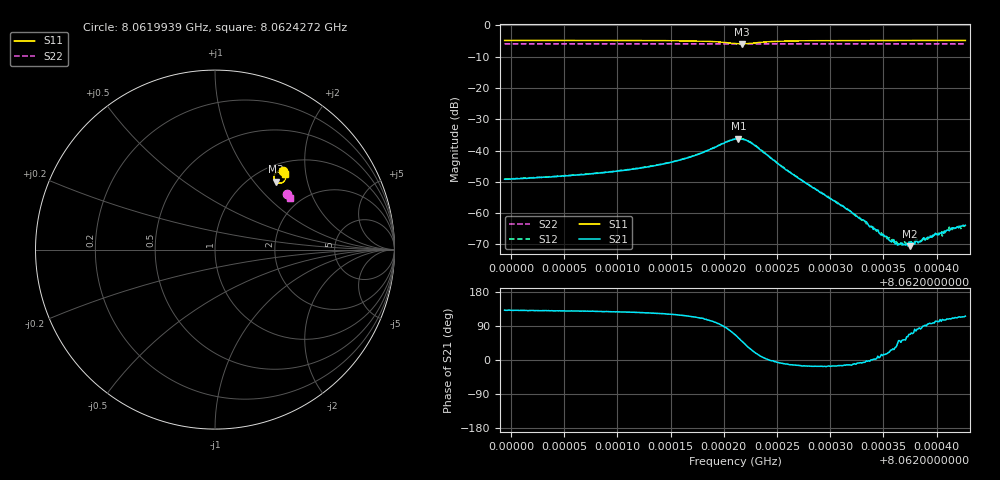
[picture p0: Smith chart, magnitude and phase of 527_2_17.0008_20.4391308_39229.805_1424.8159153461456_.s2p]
#  HZ  S  RI  R  50.00
! Rohde & Schwarz Vector Network Analyzer
! Rohde-Schwarz,ZNB20-2Port,1311601062101988,3.16
! Created: UTC 3/20/2024, 11:15:45 PM
! freq[Hz]  re:S11  im:S11  re:S21  im:S21  re:S12  im:S12  re:S22  im:S22
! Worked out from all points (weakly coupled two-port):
!   401 points, 8.0619939 GHz to 8.0624272 GHz, reference 50 ohm
!   highest |S21| = -36.25 dB at 8.0622138 GHz (marker M1); lowest = -70.6 dB at 8.0623752 GHz (marker M2)
!   lowest |S11| = -5.9 dB at 8.062217 GHz (marker M3), VSWR 3.07, Z = 64 + j65.3 ohm
!   |S11| at or under -10 dB: nowhere
!   |S22| runs from -5.9 to -5.9 dB; largest |S21 - S12| = 0.001
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8.06199391e9  0.3766 0.4361  -0.00231 0.0026  -0.00217 0.00272  0.4026 0.3117
8.06206648e9  0.3824 0.4302  -0.0026 0.00321  -0.00242 0.00339  0.4053 0.3079
8.0621098e9  0.3868 0.425  -0.00292 0.00397  -0.0027 0.00419  0.4069 0.3056
8.06213905e9  0.3902 0.4192  -0.0032 0.00496  -0.00297 0.00521  0.4079 0.3038
8.06217371e9  0.3939 0.4051  -0.00329 0.00779  -0.00285 0.008  0.4091 0.3016
8.06221053e9  0.3578 0.3704  0.00602 0.0141  0.00679 0.0138  0.4082 0.2989
8.06221378e9  0.348 0.373  0.00813 0.0131  0.00887 0.0128  0.408 0.2989
8.06221703e9  0.3395 0.3785  0.00989 0.0116  0.0107 0.0112  0.4077 0.2992
8.06222786e9  0.3286 0.4079  0.0116 0.00485  0.012 0.0043  0.4081 0.3001
8.06225711e9  0.3562 0.4356  0.00507 -0.000881  0.00509 -0.00119  0.4106 0.2995
8.0622831e9  0.3693 0.4352  0.00248 -0.000749  0.00246 -0.000903  0.4121 0.2982
8.06231776e9  0.3777 0.4322  0.00108 -0.000244  0.00106 -0.000322  0.4136 0.2962
8.06233292e9  0.3804 0.4308  0.000725 -7.49e-05  0.000721 -0.000129  0.4141 0.2952
8.06233834e9  0.381 0.4304  0.000615 5.2e-06  0.000602 -6.07e-05  0.4144 0.2951
8.06235567e9  0.3832 0.429  0.000343 0.00013  0.000392 0.000101  0.4149 0.2942
8.06236542e9  0.3843 0.4282  0.000199 0.000247  0.000245 0.000233  0.4153 0.2936
8.06237516e9  0.3854 0.4276  0.000112 0.000274  0.000138 0.000321  0.4156 0.293
8.06239033e9  0.387 0.4263  1.86e-06 0.000387  9.23e-06 0.000397  0.4162 0.2923
8.06240224e9  0.3879 0.4257  -8.57e-05 0.000444  -6.39e-05 0.000488  0.4167 0.2915
8.06240766e9  0.3884 0.4253  -0.000138 0.000499  -0.000124 0.000464  0.4168 0.2914
8.06241524e9  0.389 0.4247  -0.000209 0.000541  -0.000169 0.00054  0.4171 0.291
8.06242715e9  0.3901 0.4239  -0.000277 0.000577  -0.000253 0.000579  0.4175 0.2902
